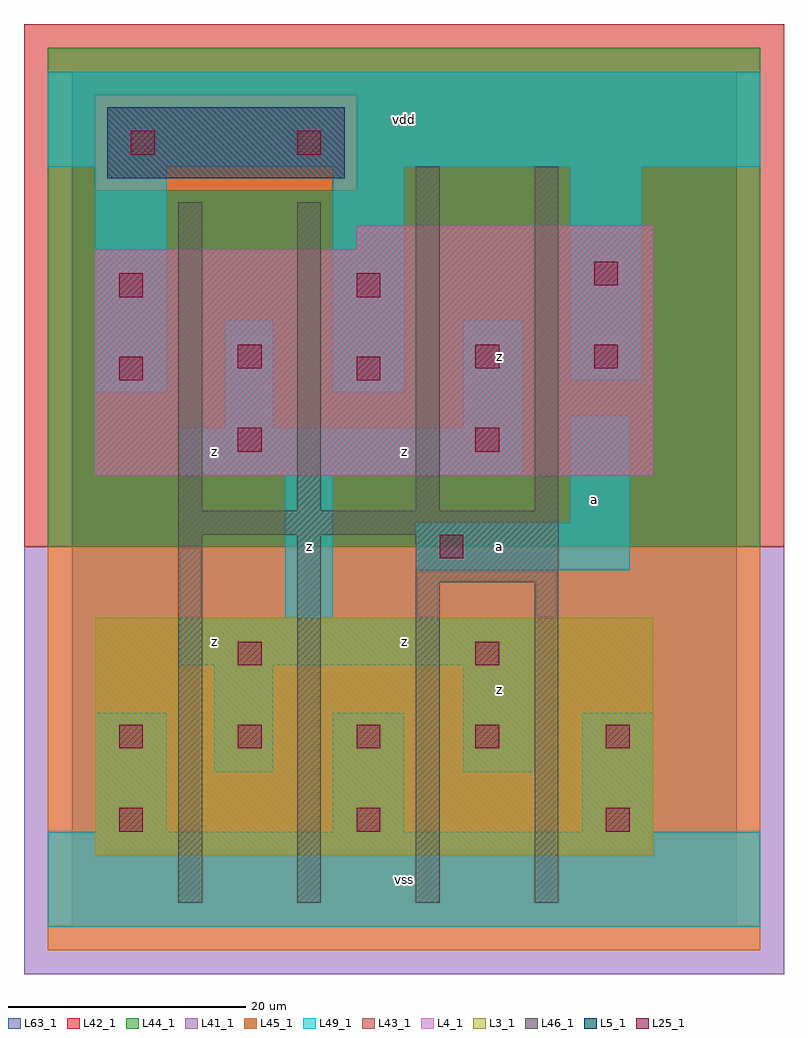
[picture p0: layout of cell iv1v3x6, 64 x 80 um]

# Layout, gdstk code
import gdstk
lib = gdstk.Library(unit=1e-6, precision=1e-09)
def R(c, l, rs):  # rectangles x0, y0, x1, y1
    for r in rs: c.add(gdstk.rectangle(r[:2], r[2:], *l))
def A(c, l, x, y, w, h, nx, ny, dx, dy):  # array of equal rectangles
    R(c, l, [(x+i*dx, y+j*dy, x+i*dx+w, y+j*dy+h) for i in range(nx) for j in range(ny)])
L3_1 = (3, 1)
L4_1 = (4, 1)
L5_1 = (5, 1)
L25_1 = (25, 1)
L41_1 = (41, 1)
L42_1 = (42, 1)
L43_1 = (43, 1)
L44_1 = (44, 1)
L45_1 = (45, 1)
L46_1 = (46, 1)
L49_1 = (49, 1)
L63_1 = (63, 1)

iv1v3x6 = lib.new_cell('iv1v3x6')
R(iv1v3x6, L3_1, [(2,6,49,26)])
R(iv1v3x6, L4_1, [(2,38,49,57), (24,57,49,59)])
R(iv1v3x6, L5_1, [(3,63,23,69)])
A(iv1v3x6, L25_1, 4, 15, 2, 2, 4, 1, 10, 0)
R(iv1v3x6, L25_1, [(4,8,6,10), (24,8,26,10), (45,8,47,10), (45,15,47,17), (14,22,16,24), (34,22,36,24), (31,31,33,33), (14,40,16,42), (34,40,36,42), (4,46,6,48), (24,46,26,48), (14,47,16,49), (34,47,36,49), (44,47,46,49), (4,53,6,55), (24,53,26,55), (44,54,46,56), (5,65,7,67), (19,65,21,67)])
R(iv1v3x6, L41_1, [(-4,-4,60,32)])
R(iv1v3x6, L42_1, [(-4,32,60,76)])
R(iv1v3x6, L43_1, [(2,6,49,26), (2,38,49,57), (24,57,49,59), (3,63,23,69)])
R(iv1v3x6, L44_1, [(-2,32,58,62), (-2,62,2,70), (24,62,58,70), (-2,70,58,74)])
R(iv1v3x6, L45_1, [(-2,-2,58,32), (2,62,24,70)])
R(iv1v3x6, L46_1, [(9,2,11,33), (19,2,21,33), (29,2,31,29), (39,2,41,29), (29,29,41,33), (9,33,41,35), (9,35,11,61), (19,35,21,61), (29,35,31,64), (39,35,41,64)])
R(iv1v3x6, L49_1, [(-2,0,58,8), (2,8,8,18), (22,8,28,18), (43,8,49,18), (12,13,17,22), (33,13,39,22), (9,22,39,26), (18,26,22,38), (29,30,47,34), (42,34,47,43), (9,38,38,42), (13,42,17,51), (33,42,38,51), (2,45,8,64), (22,45,28,64), (42,46,48,64), (-2,64,58,72)])
R(iv1v3x6, L63_1, [(0,0,56,72)])
iv1v3x6.add(gdstk.Label('z', (12,24), layer=49, texttype=1))
iv1v3x6.add(gdstk.Label('z', (20,32), layer=49, texttype=1))
iv1v3x6.add(gdstk.Label('z', (12,40), layer=49, texttype=1))
iv1v3x6.add(gdstk.Label('vss', (28,4), layer=49, texttype=1))
iv1v3x6.add(gdstk.Label('z', (36,20), layer=49, texttype=1))
iv1v3x6.add(gdstk.Label('z', (28,24), layer=49, texttype=1))
iv1v3x6.add(gdstk.Label('a', (36,32), layer=49, texttype=1))
iv1v3x6.add(gdstk.Label('z', (28,40), layer=49, texttype=1))
iv1v3x6.add(gdstk.Label('z', (36,48), layer=49, texttype=1))
iv1v3x6.add(gdstk.Label('vdd', (28,68), layer=49, texttype=1))
iv1v3x6.add(gdstk.Label('a', (44,36), layer=49, texttype=1))

lib.write_gds('iv1v3x6.gds')
